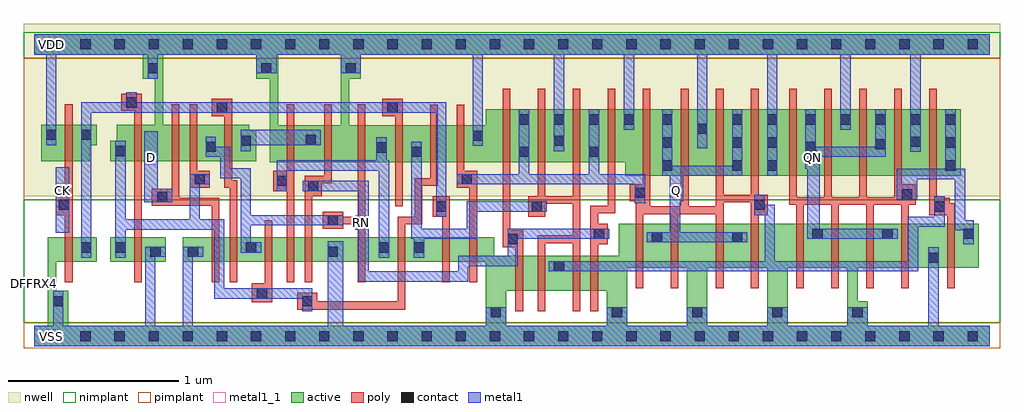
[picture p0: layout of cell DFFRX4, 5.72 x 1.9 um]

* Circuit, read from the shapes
.subckt DFFRX4 CK D Q QN RN VDD VSS
M1 n1 CK VSS VSS nfet w=0.145u l=0.045u
M2 VSS n1 n2 VSS nfet w=0.145u l=0.045u
M3 n3 D VSS VSS nfet w=0.145u l=0.045u
M4 n4 n1 n3 VSS nfet w=0.145u l=0.045u
M5 n5 n2 n4 VSS nfet w=0.145u l=0.045u
M6 n6 n7 n5 VSS nfet w=0.145u l=0.045u
M7 VSS RN n6 VSS nfet w=0.145u l=0.045u
M8 n7 n4 VSS VSS nfet w=0.145u l=0.045u
M9 n8 n2 n7 VSS nfet w=0.145u l=0.045u
M10 n9 n1 n8 VSS nfet w=0.145u l=0.045u
M11 VSS n10 n9 VSS nfet w=0.145u l=0.045u
M12 n11 RN VSS VSS nfet w=0.205u l=0.045u
M13 n10 n8 n11 VSS nfet w=0.205u l=0.045u
M14 n12 n8 n10 VSS nfet w=0.205u l=0.045u
M15 VSS RN n12 VSS nfet w=0.205u l=0.045u
M16 Q n10 VSS VSS nfet w=0.26u l=0.045u m=4
M17 QN n13 VSS VSS nfet w=0.26u l=0.045u m=4
M18 n13 n10 VSS VSS nfet w=0.26u l=0.045u
M19 n1 CK VDD VDD pfet w=0.215u l=0.045u
M20 VDD n1 n2 VDD pfet w=0.215u l=0.045u
M21 n14 D VDD VDD pfet w=0.215u l=0.045u
M22 n4 n2 n14 VDD pfet w=0.215u l=0.045u
M23 n15 n1 n4 VDD pfet w=0.215u l=0.045u
M24 n15 n7 VDD VDD pfet w=0.215u l=0.045u
M25 VDD RN n15 VDD pfet w=0.215u l=0.045u
M26 n7 n4 VDD VDD pfet w=0.215u l=0.045u
M27 n8 n1 n7 VDD pfet w=0.215u l=0.045u
M28 n16 n2 n8 VDD pfet w=0.215u l=0.045u
M29 VDD n10 n16 VDD pfet w=0.215u l=0.045u
M30 n10 RN VDD VDD pfet w=0.31u l=0.045u m=2
M31 VDD n8 n10 VDD pfet w=0.31u l=0.045u m=2
M32 Q n10 VDD VDD pfet w=0.39u l=0.045u m=4
M33 QN n13 VDD VDD pfet w=0.39u l=0.045u m=4
M34 n13 n10 VDD VDD pfet w=0.39u l=0.045u
.ends

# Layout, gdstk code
import gdstk
lib = gdstk.Library(unit=1e-6, precision=5e-10)
def R(c, l, rs):  # rectangles x0, y0, x1, y1
    for r in rs: c.add(gdstk.rectangle(r[:2], r[2:], *l))
def A(c, l, x, y, w, h, nx, ny, dx, dy):  # array of equal rectangles
    R(c, l, [(x+i*dx, y+j*dy, x+i*dx+w, y+j*dy+h) for i in range(nx) for j in range(ny)])
def P(c, l, *ps):  # polygons
    for p in ps: c.add(gdstk.Polygon(p, *l))
active = (1, 0)
nwell = (2, 0)
poly = (3, 0)
nimplant = (4, 0)
pimplant = (5, 0)
contact = (6, 0)
metal1 = (7, 0)
metal1_1 = (7, 1)

dffrx4 = lib.new_cell('DFFRX4')
R(dffrx4, active, [(0.445,0.435,0.77,0.58)])
P(dffrx4, active, [(5.6,1.77),(1.795,1.77),(1.795,1.235),(1.43,1.235),(1.43,1.65),(1.795,1.65),(1.795,1.77),(0,1.77),(0,1.65),(0.635,1.65),(0.635,1.51),(0.705,1.51),(0.705,1.24),(0.485,1.24),(0.485,1.145),(0.445,1.145),(0.445,1.025),(1.3,1.025),(1.3,1.205),(1.26,1.205),(1.26,1.24),(0.755,1.24),(0.755,1.65),(1.3,1.65),(1.3,1.51),(1.38,1.51),(1.38,1.02),(3.465,1.02),(3.465,0.94),(5.43,0.94),(5.43,1.33),(2.645,1.33),(2.645,1.235),(1.845,1.235),(1.845,1.51),(1.915,1.51),(1.915,1.65),(5.6,1.65)],
  [(5.6,0.06),(4.885,0.06),(4.885,0.205),(4.825,0.205),(4.825,0.4),(5.535,0.4),(5.535,0.66),(4.765,0.66),(4.765,0.06),(4.415,0.06),(4.415,0.4),(4.765,0.4),(4.765,0.66),(4.295,0.66),(4.295,0.06),(3.945,0.06),(3.945,0.4),(4.295,0.4),(4.295,0.66),(3.825,0.66),(3.825,0.06),(3.475,0.06),(3.475,0.4),(3.825,0.4),(3.825,0.66),(3.425,0.66),(3.425,0.47),(3.355,0.47),(3.355,0.06),(2.765,0.06),(2.765,0.265),(3.355,0.265),(3.355,0.47),(2.695,0.47),(2.695,0.58),(0.87,0.58),(0.87,0.435),(2.645,0.435),(2.645,0.06),(0.2,0.06),(0.2,0.265),(0.13,0.265),(0.13,0.435),(0.365,0.435),(0.365,0.58),(0.08,0.58),(0.08,0.06),(0,0.06),(0,-0.06),(5.6,-0.06)],
  [(0.365,1.24),(0.04,1.24),(0.04,1.025),(0.325,1.025),(0.325,1.12),(0.365,1.12)])
R(dffrx4, nwell, [(-0.06,0.82,5.66,1.83)])
P(dffrx4, poly, [(5.165,0.89),(5.085,0.89),(5.085,1.45),(5.04,1.45),(5.04,0.815),(4.88,0.815),(4.88,1.45),(4.835,1.45),(4.835,0.815),(4.675,0.815),(4.675,1.45),(4.63,1.45),(4.63,0.815),(4.47,0.815),(4.47,1.45),(4.425,1.45),(4.425,0.77),(4.465,0.77),(4.465,0.28),(4.51,0.28),(4.51,0.77),(4.67,0.77),(4.67,0.28),(4.715,0.28),(4.715,0.77),(4.875,0.77),(4.875,0.28),(4.92,0.28),(4.92,0.77),(5.08,0.77),(5.08,0.28),(5.125,0.28),(5.125,0.77),(5.165,0.77)],
  [(4.3,0.83),(4.245,0.83),(4.245,1.45),(4.2,1.45),(4.2,0.83),(4.04,0.83),(4.04,1.45),(3.995,1.45),(3.995,0.76),(3.835,0.76),(3.835,1.45),(3.79,1.45),(3.79,0.76),(3.61,0.76),(3.61,1.45),(3.565,1.45),(3.565,0.89),(3.49,0.89),(3.49,0.79),(3.525,0.79),(3.525,0.28),(3.57,0.28),(3.57,0.715),(3.73,0.715),(3.73,0.28),(3.775,0.28),(3.775,0.715),(3.995,0.715),(3.995,0.28),(4.04,0.28),(4.04,0.785),(4.2,0.785),(4.2,0.28),(4.245,0.28),(4.245,0.71),(4.3,0.71)],
  [(3.2,1.45),(3.155,1.45),(3.155,0.82),(2.995,0.82),(2.995,1.45),(2.95,1.45),(2.95,0.82),(2.895,0.82),(2.895,0.7),(2.995,0.7),(2.995,0.775),(3.155,0.775),(3.155,0.59),(2.95,0.59),(2.95,0.145),(2.995,0.145),(2.995,0.545),(3.155,0.545),(3.155,0.145),(3.2,0.145)],
  [(2.865,0.62),(2.79,0.62),(2.79,1.45),(2.745,1.45),(2.745,0.52),(2.82,0.52),(2.82,0.145),(2.865,0.145)],
  [(2.595,0.97),(2.52,0.97),(2.52,1.355),(2.475,1.355),(2.475,0.87),(2.55,0.87),(2.55,0.315),(2.595,0.315)],
  [(2.435,0.82),(2.335,0.82),(2.335,0.7),(2.39,0.7),(2.39,0.315),(2.435,0.315)],
  [(2.365,1.355),(2.32,1.355),(2.32,0.925),(2.23,0.925),(2.23,0.7),(2.13,0.7),(2.13,0.205),(1.66,0.205),(1.66,0.255),(1.54,0.255),(1.54,0.155),(2.175,0.155),(2.175,0.655),(2.275,0.655),(2.275,0.88),(2.365,0.88)],
  [(3.405,1.45),(3.36,1.45),(3.36,0.765),(3.26,0.765),(3.26,0.145),(3.305,0.145),(3.305,0.54),(3.36,0.54),(3.36,0.66),(3.305,0.66),(3.305,0.72),(3.405,0.72)],
  [(2.16,1.39),(2.04,1.39),(2.04,1.29),(2.115,1.29),(2.115,0.76),(2.16,0.76)],
  [(1.94,1.36),(1.895,1.36),(1.895,0.7),(1.81,0.7),(1.81,0.73),(1.69,0.73),(1.69,0.63),(1.81,0.63),(1.81,0.655),(1.895,0.655),(1.895,0.315),(1.94,0.315)],
  [(1.745,1.36),(1.7,1.36),(1.7,0.94),(1.585,0.94),(1.585,0.315),(1.63,0.315),(1.63,0.82),(1.685,0.82),(1.685,0.895),(1.745,0.895)],
  [(1.525,1.36),(1.48,1.36),(1.48,0.97),(1.4,0.97),(1.4,0.85),(1.48,0.85),(1.48,0.315),(1.525,0.315)],
  [(1.395,0.68),(1.35,0.68),(1.35,0.31),(1.275,0.31),(1.275,0.2),(1.395,0.2)],
  [(1.19,0.915),(1.16,0.915),(1.16,1.39),(1.04,1.39),(1.04,1.29),(1.115,1.29),(1.115,0.87),(1.145,0.87),(1.145,0.315),(1.19,0.315)],
  [(1.085,0.81),(0.85,0.81),(0.85,1.36),(0.805,1.36),(0.805,0.865),(0.69,0.865),(0.69,0.765),(1.04,0.765),(1.04,0.315),(1.085,0.315)],
  [(1.03,0.97),(0.955,0.97),(0.955,1.36),(0.91,1.36),(0.91,0.87),(1.03,0.87)],
  [(0.63,1.42),(0.51,1.42),(0.51,1.32),(0.585,1.32),(0.585,0.315),(0.63,0.315)],
  [(0.225,1.36),(0.18,1.36),(0.18,0.83),(0.125,0.83),(0.125,0.71),(0.18,0.71),(0.18,0.315),(0.225,0.315)],
  [(5.395,0.78),(5.365,0.78),(5.365,0.81),(5.29,0.81),(5.29,1.45),(5.245,1.45),(5.245,0.71),(5.35,0.71),(5.35,0.28),(5.395,0.28)])
R(dffrx4, nimplant, [(-0.06,0.08,5.66,0.8), (-0.06,1.63,5.66,1.78)])
R(dffrx4, pimplant, [(-0.06,-0.07,5.66,0.08), (-0.06,0.8,5.66,1.63)])
A(dffrx4, contact, 0.07, -0.03, 0.06, 0.06, 28, 2, 0.2, 1.71)
A(dffrx4, contact, 3.385, 0.11, 0.06, 0.06, 4, 1, 0.47, 0)
A(dffrx4, contact, 3.68, 0.97, 0.06, 0.06, 1, 3, 0, 0.135)
A(dffrx4, contact, 4.09, 0.97, 0.06, 0.06, 1, 3, 0, 0.135)
A(dffrx4, contact, 4.295, 0.97, 0.06, 0.06, 1, 3, 0, 0.135)
A(dffrx4, contact, 2.84, 1.24, 0.06, 0.06, 4, 1, 0.205, 0)
A(dffrx4, contact, 4.52, 1.24, 0.06, 0.06, 5, 1, 0.205, 0)
R(dffrx4, contact, [(2.675,0.11,2.735,0.17), (0.11,0.175,0.17,0.235), (1.57,0.175,1.63,0.235), (1.305,0.22,1.365,0.28), (3.045,0.38,3.105,0.44), (5.24,0.43,5.3,0.49), (0.68,0.465,0.74,0.525), (0.9,0.465,0.96,0.525), (1.72,0.465,1.78,0.525), (0.275,0.49,0.335,0.55), (0.475,0.49,0.535,0.55), (1.24,0.49,1.3,0.55), (2.02,0.49,2.08,0.55), (2.225,0.49,2.285,0.55), (2.775,0.54,2.835,0.6), (3.62,0.55,3.68,0.61), (4.09,0.55,4.15,0.61), (3.28,0.57,3.34,0.63), (4.56,0.57,4.62,0.63), (4.97,0.57,5.03,0.63), (5.445,0.57,5.505,0.63), (1.72,0.65,1.78,0.71), (2.355,0.73,2.415,0.79), (2.915,0.73,2.975,0.79), (5.275,0.73,5.335,0.79), (0.145,0.74,0.205,0.8), (4.22,0.74,4.28,0.8), (0.72,0.785,0.78,0.845), (5.085,0.8,5.145,0.86), (3.52,0.81,3.58,0.87), (1.605,0.85,1.665,0.91), (1.42,0.88,1.48,0.94), (0.94,0.89,1,0.95), (2.505,0.89,2.565,0.95), (5.34,0.97,5.4,1.03), (2.21,1.05,2.27,1.11), (2.84,1.05,2.9,1.11), (3.25,1.05,3.31,1.11), (0.475,1.055,0.535,1.115), (2.005,1.075,2.065,1.135), (1.005,1.08,1.065,1.14), (4.52,1.08,4.58,1.14), (4.93,1.095,4.99,1.155), (5.34,1.105,5.4,1.165), (5.135,1.11,5.195,1.17), (1.21,1.115,1.27,1.175), (3.045,1.115,3.105,1.175), (1.59,1.12,1.65,1.18), (2.57,1.145,2.63,1.205), (0.07,1.15,0.13,1.21), (0.275,1.15,0.335,1.21), (3.885,1.185,3.945,1.245), (1.07,1.31,1.13,1.37), (2.07,1.31,2.13,1.37), (0.54,1.34,0.6,1.4), (0.665,1.54,0.725,1.6), (1.33,1.54,1.39,1.6), (1.825,1.54,1.885,1.6)])
R(dffrx4, metal1, [(0.125,0.605,0.205,0.99)])
P(dffrx4, metal1, [(3.37,0.63),(2.775,0.63),(2.775,0.47),(2.485,0.47),(2.485,0.38),(1.96,0.38),(1.96,0.91),(1.575,0.91),(1.575,0.85),(1.9,0.85),(1.9,0.705),(1.88,0.705),(1.88,0.625),(1.9,0.625),(1.9,0.32),(2.545,0.32),(2.545,0.41),(2.835,0.41),(2.835,0.57),(3.37,0.57)],
  [(3.58,0.95),(3.31,0.95),(3.31,1.33),(3.25,1.33),(3.25,0.95),(2.9,0.95),(2.9,1.33),(2.84,1.33),(2.84,0.95),(2.475,0.95),(2.475,0.89),(3.52,0.89),(3.52,0.78),(3.58,0.78)],
  [(5.6,0.06),(5.3,0.06),(5.3,0.52),(5.24,0.52),(5.24,0.06),(4.885,0.06),(4.885,0.17),(4.765,0.17),(4.765,0.06),(4.415,0.06),(4.415,0.17),(4.295,0.17),(4.295,0.06),(3.945,0.06),(3.945,0.17),(3.825,0.17),(3.825,0.06),(3.475,0.06),(3.475,0.17),(3.355,0.17),(3.355,0.06),(2.765,0.06),(2.765,0.17),(2.645,0.17),(2.645,0.06),(1.81,0.06),(1.81,0.555),(1.72,0.555),(1.72,0.06),(0.93,0.06),(0.93,0.465),(0.99,0.465),(0.99,0.525),(0.87,0.525),(0.87,0.06),(0.71,0.06),(0.71,0.465),(0.77,0.465),(0.77,0.525),(0.65,0.525),(0.65,0.06),(0.17,0.06),(0.17,0.265),(0.11,0.265),(0.11,0.06),(0,0.06),(0,-0.06),(5.6,-0.06)],
  [(5.06,0.63),(4.605,0.63),(4.605,1.05),(4.99,1.05),(4.99,1.33),(4.93,1.33),(4.93,1.11),(4.58,1.11),(4.58,1.33),(4.52,1.33),(4.52,0.98),(4.53,0.98),(4.53,0.57),(5.06,0.57)],
  [(5.335,0.82),(5.275,0.82),(5.275,0.7),(5.12,0.7),(5.12,0.44),(4.34,0.44),(4.34,0.77),(4.28,0.77),(4.28,0.83),(4.22,0.83),(4.22,0.71),(4.28,0.71),(4.28,0.44),(3.015,0.44),(3.015,0.38),(5.18,0.38),(5.18,0.64),(5.335,0.64)],
  [(5.505,0.68),(5.455,0.68),(5.455,0.98),(5.4,0.98),(5.4,1.33),(5.34,1.33),(5.34,0.98),(5.055,0.98),(5.055,0.8),(5.175,0.8),(5.175,0.92),(5.395,0.92),(5.395,0.62),(5.445,0.62),(5.445,0.54),(5.505,0.54)],
  [(5.6,1.77),(0,1.77),(0,1.65),(0.07,1.65),(0.07,1.12),(0.13,1.12),(0.13,1.65),(0.665,1.65),(0.665,1.51),(0.725,1.51),(0.725,1.65),(1.3,1.65),(1.3,1.54),(1.42,1.54),(1.42,1.65),(1.795,1.65),(1.795,1.54),(1.915,1.54),(1.915,1.65),(2.57,1.65),(2.57,1.115),(2.63,1.115),(2.63,1.65),(3.045,1.65),(3.045,1.085),(3.105,1.085),(3.105,1.65),(3.455,1.65),(3.455,1.21),(3.515,1.21),(3.515,1.65),(3.885,1.65),(3.885,1.1),(3.945,1.1),(3.945,1.65),(4.295,1.65),(4.295,0.94),(4.355,0.94),(4.355,1.65),(4.725,1.65),(4.725,1.21),(4.785,1.21),(4.785,1.65),(5.135,1.65),(5.135,1.08),(5.195,1.08),(5.195,1.65),(5.6,1.65)],
  [(3.005,0.79),(2.535,0.79),(2.535,0.63),(2.27,0.63),(2.27,1.14),(2.21,1.14),(2.21,0.57),(2.225,0.57),(2.225,0.46),(2.285,0.46),(2.285,0.57),(2.595,0.57),(2.595,0.73),(3.005,0.73)],
  [(2.415,1.37),(0.6,1.37),(0.6,1.43),(0.54,1.43),(0.54,1.37),(0.275,1.37),(0.275,0.46),(0.335,0.46),(0.335,1.31),(2.355,1.31),(2.355,0.7),(2.415,0.7)],
  [(2.08,1.03),(2.065,1.03),(2.065,1.165),(2.005,1.165),(2.005,1.03),(1.42,1.03),(1.42,0.85),(1.48,0.85),(1.48,0.97),(2.02,0.97),(2.02,0.46),(2.08,0.46)],
  [(4.18,0.61),(3.785,0.61),(3.785,0.79),(3.805,0.79),(3.805,0.94),(4.15,0.94),(4.15,1.33),(4.09,1.33),(4.09,1),(3.74,1),(3.74,1.33),(3.68,1.33),(3.68,0.94),(3.725,0.94),(3.725,0.61),(3.59,0.61),(3.59,0.55),(4.18,0.55)],
  [(1.81,0.71),(1.27,0.71),(1.27,0.985),(1.15,0.985),(1.15,1.11),(1.065,1.11),(1.065,1.17),(1.005,1.17),(1.005,1.05),(1.09,1.05),(1.09,0.925),(1.21,0.925),(1.21,0.49),(1.33,0.49),(1.33,0.55),(1.27,0.55),(1.27,0.65),(1.81,0.65)],
  [(1.68,1.21),(1.21,1.21),(1.21,1.085),(1.27,1.085),(1.27,1.12),(1.68,1.12)],
  [(1.63,0.28),(1.115,0.28),(1.115,0.685),(0.97,0.685),(0.97,0.89),(1.03,0.89),(1.03,0.95),(0.91,0.95),(0.91,0.685),(0.535,0.685),(0.535,1.145),(0.475,1.145),(0.475,0.46),(0.535,0.46),(0.535,0.625),(1.055,0.625),(1.055,0.22),(1.57,0.22),(1.57,0.145),(1.63,0.145)],
  [(0.81,0.865),(0.725,0.865),(0.725,1.2),(0.645,1.2),(0.645,0.785),(0.81,0.785)])
R(dffrx4, metal1_1, [(0.06,-0.04,0.14,0.04), (1.88,0.625,1.96,0.705), (0.125,0.815,0.205,0.895), (3.725,0.815,3.805,0.895), (0.645,1.005,0.725,1.085), (4.52,1.005,4.6,1.085), (0.06,1.67,0.14,1.75)])
dffrx4.add(gdstk.Label('VSS', (0.1,0), layer=7, texttype=1))
dffrx4.add(gdstk.Label('QN', (4.56,1.045), layer=7, texttype=1))
dffrx4.add(gdstk.Label('Q', (3.765,0.855), layer=7, texttype=1))
dffrx4.add(gdstk.Label('RN', (1.92,0.665), layer=7, texttype=1))
dffrx4.add(gdstk.Label('D', (0.685,1.045), layer=7, texttype=1))
dffrx4.add(gdstk.Label('CK', (0.165,0.855), layer=7, texttype=1))
dffrx4.add(gdstk.Label('VDD', (0.1,1.71), layer=7, texttype=1))
dffrx4.add(gdstk.Label('DFFRX4', (0,0.31), layer=63, texttype=0))

lib.write_gds('DFFRX4.gds')
